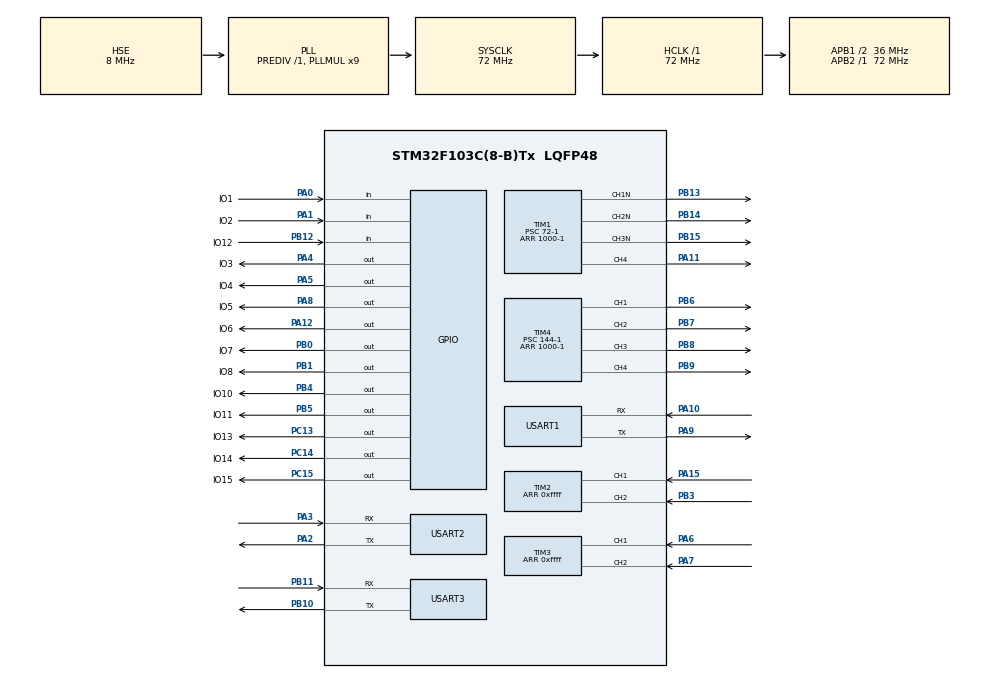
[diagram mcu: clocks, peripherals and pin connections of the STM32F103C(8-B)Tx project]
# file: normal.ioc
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Dma.Request0=USART2_RX
Dma.USART2_RX.0.Direction=DMA_PERIPH_TO_MEMORY
Dma.USART2_RX.0.Instance=DMA1_Channel6
Dma.USART2_RX.0.MemDataAlignment=DMA_MDATAALIGN_BYTE
Dma.USART2_RX.0.MemInc=DMA_MINC_ENABLE
Dma.USART2_RX.0.Mode=DMA_NORMAL
Dma.USART2_RX.0.PeriphDataAlignment=DMA_PDATAALIGN_BYTE
Dma.USART2_RX.0.PeriphInc=DMA_PINC_DISABLE
Dma.USART2_RX.0.Priority=DMA_PRIORITY_MEDIUM
Mcu.Family=STM32F1
Mcu.Name=STM32F103C(8-B)Tx
Mcu.Package=LQFP48
NVIC.DMA1_Channel6_IRQn=true\:0\:0\:false\:false\:true\:false\:true\:true
NVIC.PriorityGroup=NVIC_PRIORITYGROUP_4
NVIC.TIM4_IRQn=true\:1\:0\:true\:false\:true\:true\:true\:true
NVIC.USART1_IRQn=true\:0\:0\:false\:false\:true\:true\:true\:true
NVIC.USART2_IRQn=true\:0\:0\:false\:false\:true\:true\:true\:true
NVIC.USART3_IRQn=true\:0\:0\:false\:false\:true\:true\:true\:true
PA0-WKUP.GPIO_Label=IO1
PA0-WKUP.Signal=GPIO_Input
PA1.GPIO_Label=IO2
PA1.Signal=GPIO_Input
PA10.Mode=Asynchronous
PA10.Signal=USART1_RX
PA11.Signal=S_TIM1_CH4
PA12.GPIO_Label=IO6
PA12.Signal=GPIO_Output
PA13.Mode=Serial_Wire
PA13.Signal=SYS_JTMS-SWDIO
PA14.Mode=Serial_Wire
PA14.Signal=SYS_JTCK-SWCLK
PA15.Signal=S_TIM2_CH1_ETR
PA2.Mode=Asynchronous
PA2.Signal=USART2_TX
PA3.Mode=Asynchronous
PA3.Signal=USART2_RX
PA4.GPIO_Label=IO3
PA4.Signal=GPIO_Output
PA5.GPIO_Label=IO4
PA5.Signal=GPIO_Output
PA6.Signal=S_TIM3_CH1
PA7.Signal=S_TIM3_CH2
PA8.GPIO_Label=IO5
PA8.Signal=GPIO_Output
PA9.Mode=Asynchronous
PA9.Signal=USART1_TX
PB0.GPIO_Label=IO7
PB0.Signal=GPIO_Output
PB1.GPIO_Label=IO8
PB1.Signal=GPIO_Output
PB10.Mode=Asynchronous
PB10.Signal=USART3_TX
PB11.Mode=Asynchronous
PB11.Signal=USART3_RX
PB12.GPIO_Label=IO12
PB12.Signal=GPIO_Input
PB13.Mode=PWM Generation1 CH1N
PB13.Signal=TIM1_CH1N
PB14.Mode=PWM Generation2 CH2N
PB14.Signal=TIM1_CH2N
PB15.Mode=PWM Generation3 CH3N
PB15.Signal=TIM1_CH3N
PB3.Signal=S_TIM2_CH2
PB4.GPIO_Label=IO10
PB4.Signal=GPIO_Output
PB5.GPIO_Label=IO11
PB5.Signal=GPIO_Output
PB6.Signal=S_TIM4_CH1
PB7.Signal=S_TIM4_CH2
PB8.Signal=S_TIM4_CH3
PB9.Signal=S_TIM4_CH4
PC13-TAMPER-RTC.GPIO_Label=IO13
PC13-TAMPER-RTC.Signal=GPIO_Output
PC14-OSC32_IN.GPIO_Label=IO14
PC14-OSC32_IN.Signal=GPIO_Output
PC15-OSC32_OUT.GPIO_Label=IO15
PC15-OSC32_OUT.Signal=GPIO_Output
PD0-OSC_IN.Mode=HSE-External-Oscillator
PD0-OSC_IN.Signal=RCC_OSC_IN
PD1-OSC_OUT.Mode=HSE-External-Oscillator
PD1-OSC_OUT.Signal=RCC_OSC_OUT
ProjectManager.HeapSize=0x200
ProjectManager.StackSize=0x400
ProjectManager.TargetToolchain=MDK-ARM V5
RCC.AHBFreq_Value=72000000
RCC.APB1CLKDivider=RCC_HCLK_DIV2
RCC.APB1Freq_Value=36000000
RCC.APB1TimFreq_Value=72000000
RCC.APB2Freq_Value=72000000
RCC.APB2TimFreq_Value=72000000
RCC.HCLKFreq_Value=72000000
RCC.PLLMUL=RCC_PLL_MUL9
RCC.PLLSourceVirtual=RCC_PLLSOURCE_HSE
RCC.SYSCLKFreq_VALUE=72000000
RCC.SYSCLKSource=RCC_SYSCLKSOURCE_PLLCLK
RCC.USBFreq_Value=72000000
SH.S_TIM1_CH4.0=TIM1_CH4,PWM Generation4 CH4
SH.S_TIM2_CH1_ETR.0=TIM2_CH1,Encoder_Interface
SH.S_TIM2_CH2.0=TIM2_CH2,Encoder_Interface
SH.S_TIM3_CH1.0=TIM3_CH1,Encoder_Interface
SH.S_TIM3_CH2.0=TIM3_CH2,Encoder_Interface
SH.S_TIM4_CH1.0=TIM4_CH1,PWM Generation1 CH1
SH.S_TIM4_CH2.0=TIM4_CH2,PWM Generation2 CH2
SH.S_TIM4_CH3.0=TIM4_CH3,PWM Generation3 CH3
SH.S_TIM4_CH4.0=TIM4_CH4,PWM Generation4 CH4
TIM1.AutoReloadPreload=TIM_AUTORELOAD_PRELOAD_ENABLE
TIM1.BreakState=TIM_BREAK_DISABLE
TIM1.Channel-PWM\ Generation1\ CH1N=TIM_CHANNEL_1
TIM1.Channel-PWM\ Generation2\ CH2N=TIM_CHANNEL_2
TIM1.Channel-PWM\ Generation3\ CH3N=TIM_CHANNEL_3
TIM1.Channel-PWM\ Generation4\ CH4=TIM_CHANNEL_4
TIM1.CounterMode=TIM_COUNTERMODE_UP
TIM1.OCNPolarity_1=TIM_OCNPOLARITY_HIGH
TIM1.OCNPolarity_2=TIM_OCNPOLARITY_HIGH
TIM1.OCNPolarity_3=TIM_OCNPOLARITY_HIGH
TIM1.Period=1000-1
TIM1.Prescaler=72-1
TIM2.EncoderMode=TIM_ENCODERMODE_TI12
TIM2.IC1Filter=5
TIM2.IC2Filter=5
TIM2.Period=0xffff
TIM3.EncoderMode=TIM_ENCODERMODE_TI12
TIM3.IC1Filter=5
TIM3.IC2Filter=5
TIM3.Period=0xffff
TIM4.AutoReloadPreload=TIM_AUTORELOAD_PRELOAD_ENABLE
TIM4.Channel-PWM\ Generation1\ CH1=TIM_CHANNEL_1
TIM4.Channel-PWM\ Generation2\ CH2=TIM_CHANNEL_2
TIM4.Channel-PWM\ Generation3\ CH3=TIM_CHANNEL_3
TIM4.Channel-PWM\ Generation4\ CH4=TIM_CHANNEL_4
TIM4.Period=1000-1
TIM4.Prescaler=144-1
USART1.VirtualMode=VM_ASYNC
USART2.VirtualMode=VM_ASYNC
USART3.VirtualMode=VM_ASYNC
VP_TIM4_VS_ClockSourceINT.Mode=Internal
board=custom

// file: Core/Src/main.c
/* USER CODE BEGIN Header */
/**
  ******************************************************************************
  * @file           : main.c
  * @brief          : Main program body
  ******************************************************************************
  * @attention
  *
  * Copyright (c) 2023 STMicroelectronics.
  * All rights reserved.
  *
  * This software is licensed under terms that can be found in the LICENSE file
  * in the root directory of this software component.
  * If no LICENSE file comes with this software, it is provided AS-IS.
  *
  ******************************************************************************
  */
/* USER CODE END Header */
#include "main.h"
#include "dma.h"
#include "tim.h"
#include "usart.h"
#include "gpio.h"

/* USER CODE BEGIN Includes */
#include "string.h"
#include "stdio.h"
#include "stdlib.h"

#include "my_uart.h"
#include "pid.h"
#include "my_hmi.h"
#include "car_camera.h"
/* USER CODE END Includes */

/* USER CODE BEGIN PV */

/*串口数据处理变量区*/
uint8_t rx_buf1;
uint8_t rData1[30];
uint8_t rDataCount1 = 0;
int rDataFlag1 = 0;

/*uint8_t rx_buf2;
uint8_t rData2[30];
uint8_t rDataCount2 = 0;
int rDataFlag2 = 0;*/

uint8_t rx_buf3;
uint8_t rData3[30];
uint8_t rDataCount3 = 0;
int rDataFlag3 = 0;

/*串口2DMA数据*/
uint8_t rx_buffer[255];
volatile uint8_t rx_len = 0;
volatile uint8_t recv_end_flag = 0;

/*串口屏用缓冲区*/
unsigned char buf[64];

/*问题与相关标识位结构体*/
extern _Q Q;
uint8_t test = 0; //测试标识
uint8_t message = 0; //通讯信号
uint8_t debug = 0; //调试用标识位
extern int stop_count; //缓冲标识
extern uint8_t status; //当前状态

/*左右轮速度*/
int speed_l = 0;
int speed_r = 0;

/*pid相关参数*/
uint8_t x_pid = 0; //位移pid启动
uint8_t x_start = 0; //位移pid初始化
uint8_t wheel_enable = 0; //电机旋转使能
uint8_t pos_pid_flag = 0; //位置环pid标识

/*循迹相关参数*/
float position = 0;
uint8_t data_flag = 0; //循迹信息有效标识
char *endptr;

/*电机运动相关设定值*/
int setspeed_l = 0;
int setspeed_r = 0;
int x_set_l = 0;
int x_set_r = 0;
int x_cont_L = 0; //左右轮位移记录
int x_cont_R = 0;

/* USER CODE END PV */

void SystemClock_Config(void);
/* USER CODE BEGIN PFP */
void Wheel(int pwm,uint8_t flag); //电机驱动函数
int GetTimEnCoder(uint8_t flag); //电机编码器读取函数
/* USER CODE END PFP */

/* USER CODE BEGIN 0 */

/*串口重定向*/
int fgetc(FILE *f) {
	uint8_t ch = 0;
	HAL_UART_Receive(&huart1,&ch,1,0xffff);
	return ch;
}

int fputc(int ch, FILE *f) {
	HAL_UART_Transmit(&huart1,(uint8_t *)&ch,1,0xffff);
	return ch;
}
/* USER CODE END 0 */

int main(void)
{

  /* MCU Configuration--------------------------------------------------------*/

  /* Reset of all peripherals, Initializes the Flash interface and the Systick. */
  HAL_Init();

  /* Configure the system clock */
  SystemClock_Config();

  /* Initialize all configured peripherals */
  MX_GPIO_Init();
  MX_DMA_Init();
  MX_TIM1_Init();
  MX_TIM2_Init();
  MX_TIM3_Init();
  MX_TIM4_Init();
  MX_USART1_UART_Init();
  MX_USART2_UART_Init();
  MX_USART3_UART_Init();
  /* USER CODE BEGIN 2 */

	/*开启定时器2,定时器3编码器*/
	HAL_TIM_Encoder_Start(&htim2, TIM_CHANNEL_ALL);
	HAL_TIM_Encoder_Start(&htim3, TIM_CHANNEL_ALL);

	/*开启定时器4中断*/
	HAL_TIM_Base_Start_IT(&htim4);
	/*开启定时器4所有PWM*/
	HAL_TIM_PWM_Start(&htim4, TIM_CHANNEL_1);
	HAL_TIM_PWM_Start(&htim4, TIM_CHANNEL_2);
	HAL_TIM_PWM_Start(&htim4, TIM_CHANNEL_3);
	HAL_TIM_PWM_Start(&htim4, TIM_CHANNEL_4);

	/*开启定时器1所有PWM*/
	HAL_TIMEx_PWMN_Start(&htim1,TIM_CHANNEL_1);
	HAL_TIMEx_PWMN_Start(&htim1,TIM_CHANNEL_2);
	HAL_TIMEx_PWMN_Start(&htim1,TIM_CHANNEL_3);

	/*关闭定时器1所有输出*/
	__HAL_TIM_SET_COMPARE(&htim1,TIM_CHANNEL_1,0);
	__HAL_TIM_SET_COMPARE(&htim1,TIM_CHANNEL_2,0);
	__HAL_TIM_SET_COMPARE(&htim1,TIM_CHANNEL_3,0);

	/*两电机输出为0*/
	Wheel(0,1);
	Wheel(0,2);

	/*开启串口1,串口3中断*/
	while(HAL_UART_Receive_IT(&huart1, &rx_buf1, 1) != HAL_OK)printf("usart1 ok\r\n");
	while(HAL_UART_Receive_IT(&huart3, &rx_buf3, 1) != HAL_OK)printf("usart3 ok\r\n");

	/*使能串口2DMA*/
  //__HAL_UART_ENABLE_IT(&huart2, UART_IT_IDLE);
  //HAL_UART_Receive_DMA(&huart2,rx_buffer,255);

	if(test==1)
	{

	}
	else
	{

	}
  /* USER CODE END 2 */

  /* Infinite loop */
  /* USER CODE BEGIN WHILE */
  while (1)
  {
		/*DMA测试*/
		/*if(recv_end_flag==1)
		{
			HAL_GPIO_TogglePin(GPIOC,GPIO_PIN_13); //LED灯反转
			recv_end_flag = 0;
			printf("has received the data\r\n");
			printf("data:%s length:%x\r\n",rx_buffer,rx_len);
		}*/

		if(test==1) //测试模式
		{
			switch(debug)
			{
				case 0:
					wheel_enable = 0;
					setspeed_l = 0;
					setspeed_r = 0;
					pos_pid_flag = 0;
					x_pid = 0;
					break;
				case 1:
					/*电机直线测试程序*/
					wheel_enable = 2; //传递函数获取
					setspeed_l = 400;
					setspeed_r = 400;
					HAL_Delay(2000);
					setspeed_l = 0;
					setspeed_r = 0;
					HAL_Delay(2000);
					setspeed_l = -400;
					setspeed_r = -400;
					HAL_Delay(2000);
					setspeed_l = 0;
					setspeed_r = 0;
					HAL_Delay(2000);
					//debug=0;
					break;
				case 3:
					/*转向测试(xpid)*/
					x_set_l = 240;
					x_set_r = -240;
					x_pid = 1;
					x_start = 1;
					wheel_enable = 1;
					HAL_Delay(2000);
					x_pid = 0;

					x_set_l = -240;
					x_set_r = 240;
					x_pid = 1;
					x_start = 1;
					wheel_enable = 1;
					HAL_Delay(2000);
					x_pid = 0;
					debug=0;
					break;
			}
		}
		else
		{
			if(stop_count>0)stop_count--;
		}
		HAL_Delay(1); //主循环仅有赋值语句情况下必须添加,否侧进不去
		//printf("yes\r\n");
		//HAL_UART_Transmit(&huart1,(uint8_t*)"s",1,100);

    /* USER CODE END WHILE */

  }
}

void SystemClock_Config(void)
{
  RCC_OscInitTypeDef RCC_OscInitStruct = {0};
  RCC_ClkInitTypeDef RCC_ClkInitStruct = {0};

  /** Initializes the RCC Oscillators according to the specified parameters
  * in the RCC_OscInitTypeDef structure.
  */
  RCC_OscInitStruct.OscillatorType = RCC_OSCILLATORTYPE_HSE;
  RCC_OscInitStruct.HSEState = RCC_HSE_ON;
  RCC_OscInitStruct.HSEPredivValue = RCC_HSE_PREDIV_DIV1;
  RCC_OscInitStruct.HSIState = RCC_HSI_ON;
  RCC_OscInitStruct.PLL.PLLState = RCC_PLL_ON;
  RCC_OscInitStruct.PLL.PLLSource = RCC_PLLSOURCE_HSE;
  RCC_OscInitStruct.PLL.PLLMUL = RCC_PLL_MUL9;
  if (HAL_RCC_OscConfig(&RCC_OscInitStruct) != HAL_OK)
  {
    Error_Handler();
  }

  /** Initializes the CPU, AHB and APB buses clocks
  */
  RCC_ClkInitStruct.ClockType = RCC_CLOCKTYPE_HCLK|RCC_CLOCKTYPE_SYSCLK
                              |RCC_CLOCKTYPE_PCLK1|RCC_CLOCKTYPE_PCLK2;
  RCC_ClkInitStruct.SYSCLKSource = RCC_SYSCLKSOURCE_PLLCLK;
  RCC_ClkInitStruct.AHBCLKDivider = RCC_SYSCLK_DIV1;
  RCC_ClkInitStruct.APB1CLKDivider = RCC_HCLK_DIV2;
  RCC_ClkInitStruct.APB2CLKDivider = RCC_HCLK_DIV1;

  if (HAL_RCC_ClockConfig(&RCC_ClkInitStruct, FLASH_LATENCY_2) != HAL_OK)
  {
    Error_Handler();
  }
}

/* USER CODE BEGIN 4 */
void Wheel(int pwm,uint8_t flag) //直流电机驱动
{
	uint32_t Wheel_pwm_1 = 0;
	uint32_t Wheel_pwm_2 = 0;

	switch(flag)
	{
		case 1: //左轮
			Wheel_pwm_1 = TIM_CHANNEL_1;
			Wheel_pwm_2 = TIM_CHANNEL_2;
			break;
		default: //右轮
			Wheel_pwm_1 = TIM_CHANNEL_3;
			Wheel_pwm_2 = TIM_CHANNEL_4;
			break;
	}
	/*pwm限幅*/
	if(pwm>1000)
	{
		pwm = 1000;
	}
	else if(pwm<-1000)
	{
		pwm = -1000;
	}

	/*高电平停止*/
	if(pwm==0)
	{
		__HAL_TIM_SET_COMPARE(&htim4,Wheel_pwm_1,1000);
		__HAL_TIM_SET_COMPARE(&htim4,Wheel_pwm_2,1000);
	}
	else
	{
		if(pwm>0)
		{
			__HAL_TIM_SET_COMPARE(&htim4,Wheel_pwm_1,1000-pwm);
			__HAL_TIM_SET_COMPARE(&htim4,Wheel_pwm_2,1000);
		}
		else if(pwm<0)
		{
			__HAL_TIM_SET_COMPARE(&htim4,Wheel_pwm_1,1000);
			__HAL_TIM_SET_COMPARE(&htim4,Wheel_pwm_2,1000+pwm);
		}
	}
}

int GetTimEnCoder(uint8_t flag) //电机编码器读取
{
	TIM_HandleTypeDef *TIM_p;
	static int *add_enptr;
	static int *coder_enptr;

	static int tim_add_l = 0;
	static int tim_add_r = 0;
	static int last_coder_l = 0;
	static int last_coder_r = 0;

	switch(flag)
	{
		case 1: //左轮编码器
			TIM_p = &htim2;
			add_enptr = &tim_add_l;
			coder_enptr = &last_coder_l;
			break;
		default:
			TIM_p = &htim3;
			add_enptr = &tim_add_r;
			coder_enptr = &last_coder_r;
			break;
	}

	int iTimerEncoder = (short)(__HAL_TIM_GET_COUNTER(TIM_p));
	if(TIM_p == &htim2)iTimerEncoder = -iTimerEncoder; //左轮硬件错连
	if(iTimerEncoder>32000 && *coder_enptr<-32000)(*add_enptr)--;
	else if(iTimerEncoder<-32000 && *coder_enptr>32000)(*add_enptr)++;
	*coder_enptr = iTimerEncoder;
	//__HAL_TIM_SET_COUNTER(TIM_p,0); //编码器复位
	return iTimerEncoder+65536*(*add_enptr);
}

void HAL_TIM_PeriodElapsedCallback(TIM_HandleTypeDef *htim) //定时中断回调函数
{
	static int i = 0;
	static float pos_speed = 0;
	/*左右轮xpid计算速度*/
	static float x_speed_l = 0;
	static float x_speed_r = 0;
	/*左右轮pwm*/
	static int pwm_l = 0;
	static int pwm_r = 0;
	/*上次编码器值*/
	static int last_x_l = 0;
	static int last_x_r = 0;

	if (htim == (&htim4)) // internal clock -> 2ms
	{
		if(stop_count>0)stop_count--; //通讯程序延时

		Status_Deal(0);

		/*位置环pid控制*/
		if(data_flag == 1 && pos_pid_flag == 1)
		{
			pos_speed = PID_pos_update(position);
			data_flag = 0;
		}

		/*电机速度获取*/
		if(i%3==0) //4ms更新一次速度
		{
			speed_l = GetTimEnCoder(1)-last_x_l;
			speed_r = GetTimEnCoder(2)-last_x_r;

			last_x_l+=speed_l;
			last_x_r+=speed_r;

			//printf("%d,%d\n",last_x_l,speed_l);
		}

		/*位移pid*/
		if(x_pid == 1)
		{
			if(x_start == 1) //位移pid初始化
			{
				x_cont_L = GetTimEnCoder(1);
				x_cont_R = GetTimEnCoder(2);
				x_start = 0;
			}
			else if(i%5==0) //10ms更新一次
			{
				/*位移计算(速度积分)*/
				x_cont_L = GetTimEnCoder(1);
				x_cont_R = GetTimEnCoder(2);
				x_speed_l = PID_x_update(x_set_l,x_cont_L,1);
				x_speed_r = PID_x_update(x_set_r,x_cont_R,2);
			}
		}

		/*电机pwm计算*/
		pwm_l = PID_speed_update(setspeed_l+x_speed_l*x_pid+pos_speed*pos_pid_flag,speed_l,1);
		pwm_r = PID_speed_update(setspeed_r+x_speed_r*x_pid-pos_speed*pos_pid_flag,speed_r,2);

		/*电机使能*/
		if(wheel_enable == 1) //pwm控制
		{
			Wheel(pwm_l,1);
			Wheel(pwm_r,2);
		}
		else if(wheel_enable == 2) //传递函数获取
		{
			Wheel(setspeed_l,1);
			Wheel(setspeed_r,2);
		}
		else //电机停转
		{
			Wheel(0,1);
			Wheel(0,2);
		}

		if(i>=100)i=0;
		else i++;
	}
}

void HAL_UART_RxCpltCallback(UART_HandleTypeDef *huart) //串口回调函数
{
	if(huart == &huart1) //用户串口(蓝牙/串口屏)
	{
		rData1[rDataCount1]=rx_buf1;
  	if(rx_buf1!=0x00)
		{
    	rDataCount1++;
    	if(rx_buf1==0x20)// (ascii)0x20 = " "
			{
      	rDataFlag1 = 1;
				rDataCount1 = 0;
				if(strcmp((char*)rData1,"0 ")==0) //复位指令
				{
					HMIReset(); //问题复位

					message = 0; //通讯复位
					status = 0; //状态复位
					stop_count = 0;

					wheel_enable = 0; //禁用电机

					setspeed_l = 0; //巡线和位置环复位
					setspeed_r = 0;
					pos_pid_flag = 0;

					x_pid = 0; //xpid复位
					x_start = 0;
					x_set_l = 0;
					x_set_r = 0;
					x_cont_L = 0;
					x_cont_R = 0;

					debug = 0; //测试复位
					test = 0;

					HAL_UART_Transmit(&huart3,(uint8_t*)"R",1,100); //树莓派复位
				}
				else if(rData1[0] >= '1' && rData1[0]<='3' && rData1[1]==' ') //题目信息
				{
					HAL_UART_Transmit(&huart3,rData1,1,50); //发送对应题目至树莓派
					message = 1;
					HMIReset();
					Q.Q=rData1[0]-'0'; //题目标识赋值
				}
				else if(strcmp((char*)rData1,"t1 ")==0) //测试开启模式
				{
					test = 1;
				}
				else if(strcmp((char*)rData1,"t0 ")==0) //测试关闭模式
				{
					test = 0;
				}
				else if(rData1[0] == 'D' && rData1[2] == ' ') //Debug信息("Dx ")
				{
					if(test==1) //仅在测试模式下进行debug
					{
						debug = rData1[1] - '0';
					}
					else //用于反馈?
					{

					}
				}
				memset(rData1,0,sizeof(rData1)); //清空缓存数组
    	}
  	}
		while(HAL_UART_Receive_IT(&huart1, &rx_buf1, 1) != HAL_OK);
	}
	/*else if(huart == &huart2)
	{
		rData2[rDataCount2]=rx_buf2;
  	if(rx_buf2!=0x00)
		{
    	rDataCount2++;
    	if(rx_buf2==0x20)// (ascii)0x20 = " "
			{
      	rDataFlag2 = 1;
				rDataCount2 = 0;
				if(strcmp((char*)rData2,"0 ")==0)
				{

				}
				memset(rData2,0,sizeof(rData2)); //清空缓存数组
    	}
  	}
		while(HAL_UART_Receive_IT(&huart2, &rx_buf2, 1) != HAL_OK);
	}*/
	else if(huart == &huart3) //树莓派串口
	{
		rData3[rDataCount3]=rx_buf3;
  	if(rx_buf3!=0x00)
		{
    	rDataCount3++;
    	if(rx_buf3==0x20)// (ascii)0x20 = " "
			{
      	rDataFlag3 = 1;
				rDataCount3 = 0;
				if(strcmp((char*)rData3,"s ")==0) //循迹停止信号
				{

				}
				else
				{
					position = strtof((char*)rData3,&endptr);
					endptr = (char*)rData3;
					data_flag = 1; // 数据有效
				}
				memset(rData3,0,sizeof(rData3)); //清空缓存数组
    	}
  	}
		while(HAL_UART_Receive_IT(&huart3, &rx_buf3, 1) != HAL_OK);
	}
}
/* USER CODE END 4 */

void Error_Handler(void)
{
  __disable_irq();
  while (1)
  {
  }
}
